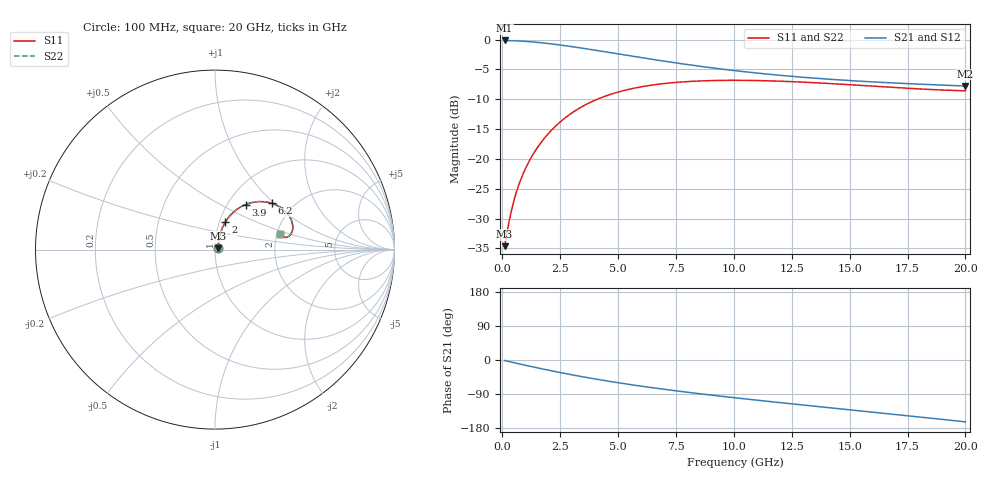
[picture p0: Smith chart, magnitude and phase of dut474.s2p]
! Touchstone file exported from HFSS 2024.1.0
!  File:  C:/UserFiles/LocalFiles/RDL_TSV_Batchsim/temp_RDL_TSV_474_1779730591.aedt
!  Generated:  01:51:57 AM May 26, 2026
!  Design:  RDL_TSV
!  Project:  temp_RDL_TSV_474_1779730591
!  Setup:  Setup1
!  Solution:  Sweep
! Variables:
!  dtsv = 5.95um
!  hbump = 3um
!  htsv = 55.26um
!  ldown = 100.26um
!  lrdl = 545.14um
!  p = 40
!  p1 = 56um
!  rhole = 10um
!  subl = 2481.34um
!  t = 450um
!  tdown = 3.27um
!  trdl = 3.78um
!  viad = 10um
!  wdown = 18.75um
!  wrdl = 14.97um
!  xbump = 18um
# GHz S MA R 50.000000
! Terminal data exported
! Port[1] = TM1_1_T1
! Port[2] = TM1_4_T1
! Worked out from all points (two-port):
!   200 points, 100 MHz to 20 GHz, reference 50 ohm
!   highest |S21| = -0.15 dB at 100 MHz (marker M1); lowest = -7.8 dB at 20 GHz (marker M2)
!   |S21| within 3 dB of the highest: start of sweep to 6.203 GHz
!   lowest |S11| = -34.6 dB at 100 MHz (marker M3), VSWR 1.04, Z = 51.7 + j0.859 ohm
!   |S11| at or under -10 dB: start of sweep to 4.103 GHz
!   |S22| runs from -34.6 to -6.8 dB; largest |S21 - S12| = 1.1e-14
!   S11 on the Smith chart (normalised r, x): 100 MHz: 1.03, +0.02; 2 GHz: 1.07, +0.34; 3.9 GHz: 1.21, +0.67; 6.2 GHz: 1.56, +0.97; 20 GHz: 2.08, +0.41
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0.1  0.01856 26.6  0.9833 -1.4  0.9833 -1.4  0.01856 26.6
! Gamma 0 0 0 0
! Port Impedance 50 0 50 0
0.3  0.03032 53.6  0.9813 -4.3  0.9813 -4.3  0.03032 53.6
0.4  0.03736 59.5  0.9799 -5.7  0.9799 -5.7  0.03736 59.5
0.6  0.05207 66.0  0.9763 -8.4  0.9763 -8.4  0.05207 66.0
0.8  0.0673 69.2  0.9717 -11.2  0.9717 -11.2  0.0673 69.2
1  0.08291 70.8  0.9662 -13.9  0.9662 -13.9  0.08291 70.8
1.3  0.1069 71.5  0.9562 -17.9  0.9562 -17.9  0.1069 71.6
1.6  0.1312 71.1  0.9443 -21.8  0.9443 -21.8  0.1312 71.1
2  0.1639 69.4  0.9262 -27.0  0.9262 -27.0  0.1639 69.5
2.7  0.2197 65.0  0.8899 -35.5  0.8899 -35.5  0.2198 65.1
3.5  0.2779 58.9  0.8446 -44.6  0.8446 -44.6  0.2782 59.0
3.9  0.3039 55.7  0.8215 -48.9  0.8215 -48.9  0.3043 55.8
5  0.3632 47.3  0.759 -59.9  0.759 -59.9  0.3637 47.4
6.2  0.4082 39.2  0.6963 -70.8  0.6963 -70.8  0.4089 39.3
6.8  0.4239 35.5  0.6679 -75.8  0.6679 -75.8  0.4247 35.6
8.4  0.4489 27.3  0.6022 -88.2  0.6022 -88.2  0.45 27.4
10.1  0.4557 20.5  0.5476 -100.1  0.5476 -100.1  0.457 20.6
11.7  0.45 15.7  0.5082 -110.6  0.5082 -110.6  0.4515 15.8
13.4  0.436 12.2  0.4763 -121.4  0.4763 -121.4  0.4377 12.3
16.7  0.3992 9.8  0.4347 -142.1  0.4347 -142.1  0.4011 9.8
18.4  0.3823 10.9  0.4198 -152.9  0.4198 -152.9  0.3844 10.9
20  0.3724 13.1  0.4081 -163.2  0.4081 -163.2  0.3744 13.1
